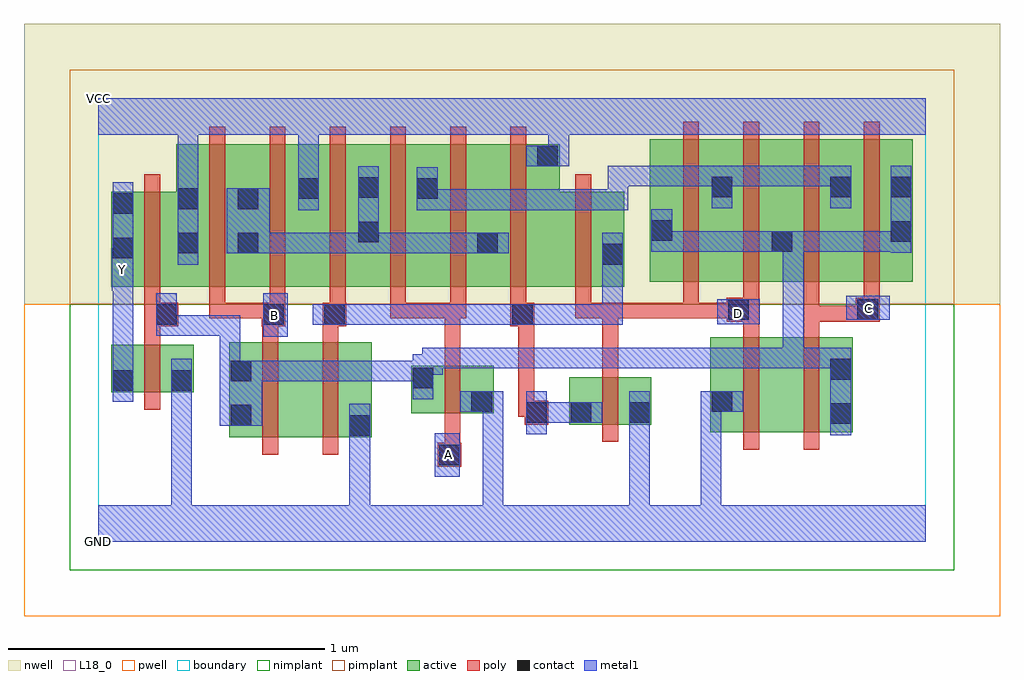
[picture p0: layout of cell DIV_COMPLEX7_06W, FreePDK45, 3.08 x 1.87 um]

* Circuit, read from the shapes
.subckt DIV_COMPLEX7_06W A B C D GND VCC Y
M1 GND n1 Y VSUBS nfet w=0.15u l=0.05u
M2 n2 B n1 VSUBS nfet w=0.3u l=0.05u
M3 GND n3 n2 VSUBS nfet w=0.3u l=0.05u
M4 GND A n1 VSUBS nfet w=0.15u l=0.05u
M5 GND D n3 VSUBS nfet w=0.15u l=0.05u
M6 n4 D GND VSUBS nfet w=0.3u l=0.05u
M7 n1 C n4 VSUBS nfet w=0.3u l=0.05u
M8 VCC n1 Y n5 pfet w=0.3u l=0.05u
M9 n6 B VCC n5 pfet w=0.45u l=0.05u m=2
M10 n6 n3 VCC n5 pfet w=0.45u l=0.05u m=2
M11 n7 A n6 n5 pfet w=0.45u l=0.05u m=2
M12 n3 D VCC n5 pfet w=0.3u l=0.05u
M13 n7 D n1 n5 pfet w=0.45u l=0.05u m=2
M14 n7 C n1 n5 pfet w=0.45u l=0.05u m=2
.ends

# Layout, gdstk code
import gdstk
lib = gdstk.Library(unit=1e-6, precision=1e-09)
def R(c, l, rs):  # rectangles x0, y0, x1, y1
    for r in rs: c.add(gdstk.rectangle(r[:2], r[2:], *l))
def A(c, l, x, y, w, h, nx, ny, dx, dy):  # array of equal rectangles
    R(c, l, [(x+i*dx, y+j*dy, x+i*dx+w, y+j*dy+h) for i in range(nx) for j in range(ny)])
active = (1, 0)
pwell = (2, 0)
nwell = (3, 0)
nimplant = (4, 0)
pimplant = (5, 0)
poly = (9, 0)
contact = (10, 0)
metal1 = (11, 0)
L18_0 = (18, 0)
boundary = (235, 0)

div_complex7_06w = lib.new_cell('DIV_COMPLEX7_06W')
A(div_complex7_06w, active, 0.245, 0.805, 0.265, 0.45, 3, 1, 0.19, 0)
R(div_complex7_06w, active, [(0.412,0.33,0.637,0.63), (0.412,0.33,0.487,0.63), (0.637,0.33,0.862,0.63), (0.787,0.33,0.862,0.547), (1.93,0.345,2.155,0.645), (2.155,0.345,2.38,0.645), (2.305,0.367,2.38,0.645), (1.485,0.37,1.745,0.52), (1.485,0.37,1.56,0.445), (1.67,0.37,1.745,0.52), (1.93,0.382,2.005,0.547), (0.987,0.405,1.247,0.555), (1.172,0.405,1.247,0.48), (0.04,0.472,0.115,0.622), (0.04,0.472,0.3,0.622), (0.225,0.472,0.3,0.622), (0.987,0.48,1.062,0.555), (0.04,0.805,0.115,1.105), (0.04,0.805,0.32,1.105), (0.245,0.805,0.32,1.255), (0.815,0.805,1.075,1.255), (0.815,0.805,0.89,1.2), (1,0.805,1.265,1.255), (1,0.805,1.075,1.2), (1.19,0.805,1.455,1.255), (1.19,0.805,1.265,1.07), (1.38,0.805,1.66,1.105), (1.38,0.805,1.455,1.255), (1.74,0.82,2.005,1.27), (1.74,0.82,1.815,1.07), (1.93,0.82,2.195,1.27), (2.12,0.82,2.38,1.27), (2.12,0.82,2.195,1.07), (2.305,0.82,2.57,1.27), (2.495,0.82,2.57,1.2), (0.435,0.857,0.51,1.2), (0.625,0.857,0.7,1.255), (1.93,0.857,2.005,1.2), (2.305,0.857,2.38,1.2), (1.585,0.87,1.66,1.07)])
R(div_complex7_06w, pwell, [(-0.235,-0.235,2.845,0.75)])
R(div_complex7_06w, nwell, [(-0.235,0.75,2.845,1.635)])
R(div_complex7_06w, nimplant, [(-0.09,-0.09,2.7,0.75)])
R(div_complex7_06w, pimplant, [(-0.09,0.75,2.7,1.49)])
A(div_complex7_06w, poly, 0.35, 0.705, 0.05, 0.095, 6, 1, 0.19, 0)
A(div_complex7_06w, poly, 0.35, 0.75, 0.05, 0.56, 6, 1, 0.19, 0)
A(div_complex7_06w, poly, 1.845, 0.765, 0.05, 0.56, 4, 1, 0.19, 0)
R(div_complex7_06w, poly, [(1.07,0.237,1.145,0.312), (1.092,0.262,1.142,0.4), (0.517,0.275,0.567,0.685), (0.707,0.275,0.757,0.685), (2.035,0.29,2.085,0.7), (2.225,0.29,2.275,0.7), (1.59,0.315,1.64,0.575), (1.092,0.35,1.142,0.61), (1.345,0.37,1.42,0.445), (1.325,0.395,1.375,0.73), (1.325,0.395,1.395,0.445), (1.345,0.395,1.395,0.445), (0.145,0.417,0.195,0.677), (1.59,0.525,1.64,0.755), (1.092,0.56,1.142,0.755), (0.145,0.627,0.195,0.73), (0.517,0.635,0.567,0.73), (0.707,0.635,0.757,0.73), (2.035,0.65,2.085,0.745), (2.225,0.65,2.275,0.745), (0.145,0.68,0.252,0.755), (0.515,0.68,0.59,0.755), (0.707,0.68,0.782,0.755), (1.3,0.68,1.375,0.755), (1.982,0.695,2.085,0.77), (2.225,0.695,2.44,0.745), (2.225,0.695,2.275,0.745), (2.225,0.695,2.275,0.745), (2.225,0.695,2.275,0.745), (2.225,0.695,2.275,0.815), (2.39,0.695,2.465,0.77), (0.145,0.705,0.195,0.8), (0.35,0.705,0.565,0.755), (0.35,0.705,0.4,0.755), (0.515,0.705,0.565,0.755), (0.515,0.705,0.565,0.755), (0.92,0.705,0.97,0.755), (0.92,0.705,0.97,0.755), (0.92,0.705,0.97,0.755), (0.92,0.705,1.142,0.755), (1.092,0.705,1.16,0.755), (1.505,0.705,1.555,0.8), (1.505,0.705,1.64,0.755), (1.59,0.705,1.64,0.755), (1.59,0.705,1.64,0.755), (1.59,0.705,1.895,0.755), (1.845,0.705,1.895,0.755), (1.845,0.705,1.895,0.755), (1.845,0.705,1.895,0.755), (1.845,0.705,2.032,0.755), (1.845,0.705,1.895,0.815), (1.982,0.705,2.032,0.755), (1.982,0.705,2.032,0.755), (2.035,0.72,2.085,0.815), (2.415,0.72,2.465,0.815), (0.145,0.75,0.195,1.16), (1.505,0.75,1.555,1.16)])
R(div_complex7_06w, contact, [(1.075,0.242,1.14,0.307), (0.792,0.335,0.857,0.4), (0.417,0.367,0.482,0.432), (2.31,0.372,2.375,0.437), (1.35,0.375,1.415,0.44), (1.49,0.375,1.555,0.44), (1.675,0.375,1.74,0.44), (1.177,0.41,1.242,0.475), (1.935,0.41,2,0.475), (0.045,0.477,0.11,0.542), (0.23,0.477,0.295,0.542), (0.992,0.485,1.057,0.55), (0.417,0.507,0.482,0.572), (2.31,0.512,2.375,0.577), (0.182,0.685,0.247,0.75), (0.52,0.685,0.585,0.75), (0.712,0.685,0.777,0.75), (1.305,0.685,1.37,0.75), (1.987,0.7,2.052,0.765), (2.395,0.7,2.46,0.765), (1.59,0.875,1.655,0.94), (0.045,0.895,0.11,0.96), (0.25,0.91,0.315,0.975), (0.44,0.91,0.505,0.975), (1.195,0.91,1.26,0.975), (2.125,0.915,2.19,0.98), (0.82,0.945,0.885,1.01), (2.5,0.947,2.565,1.012), (1.745,0.95,1.81,1.015), (0.045,1.035,0.11,1.1), (0.25,1.05,0.315,1.115), (0.44,1.05,0.505,1.115), (0.63,1.082,0.695,1.147), (1.005,1.082,1.07,1.147), (0.82,1.085,0.885,1.15), (1.935,1.087,2,1.152), (2.31,1.087,2.375,1.152), (2.5,1.087,2.565,1.152), (1.385,1.185,1.45,1.25)])
R(div_complex7_06w, metal1, [(0,0,2.61,0.115), (0.23,0.05,0.295,0.115), (0.23,0.05,0.295,0.115), (0.23,0.05,0.295,0.115), (0.23,0.05,0.295,0.115), (0.23,0.05,0.295,0.507), (0.792,0.05,0.857,0.115), (0.792,0.05,0.857,0.115), (0.792,0.05,0.857,0.115), (0.792,0.05,0.857,0.115), (0.792,0.05,0.857,0.365), (1.212,0.05,1.277,0.115), (1.212,0.05,1.277,0.115), (1.212,0.05,1.277,0.115), (1.212,0.05,1.277,0.115), (1.212,0.05,1.277,0.115), (1.212,0.05,1.277,0.115), (1.212,0.05,1.277,0.475), (1.675,0.05,1.74,0.115), (1.675,0.05,1.74,0.115), (1.675,0.05,1.74,0.115), (1.675,0.05,1.74,0.115), (1.675,0.05,1.74,0.115), (1.675,0.05,1.74,0.115), (1.675,0.05,1.74,0.405), (1.9,0.05,1.965,0.115), (1.9,0.05,1.965,0.115), (1.9,0.05,1.965,0.115), (1.9,0.05,1.965,0.115), (1.9,0.05,1.965,0.475), (1.062,0.205,1.14,0.342), (0.792,0.3,0.857,0.435), (2.31,0.337,2.375,0.612), (1.35,0.34,1.415,0.475), (1.675,0.34,1.74,0.475), (0.382,0.367,0.517,0.572), (1.35,0.375,1.52,0.44), (1.455,0.375,1.59,0.44), (1.142,0.41,1.277,0.475), (1.9,0.41,2.035,0.475), (0.045,0.442,0.11,0.577), (0.23,0.442,0.295,0.507), (0.23,0.442,0.295,0.507), (0.23,0.442,0.295,0.577), (0.992,0.45,1.057,0.592), (0.382,0.507,0.447,0.715), (0.452,0.507,0.54,0.572), (0.475,0.507,0.54,0.572), (0.475,0.507,0.677,0.572), (0.612,0.507,0.677,0.572), (0.612,0.507,0.677,0.572), (0.612,0.507,0.677,0.572), (0.612,0.507,0.92,0.572), (0.855,0.507,0.92,0.572), (0.855,0.507,0.95,0.572), (0.885,0.507,0.95,0.572), (0.885,0.507,1.057,0.572), (0.045,0.512,0.11,0.857), (0.992,0.527,1.087,0.592), (1.022,0.527,1.087,0.612), (1.022,0.547,1.277,0.612), (1.212,0.547,1.415,0.612), (1.212,0.547,1.277,0.612), (1.212,0.547,1.277,0.612), (1.212,0.547,1.277,0.612), (1.35,0.547,1.415,0.612), (1.35,0.547,1.602,0.612), (1.537,0.547,1.602,0.612), (1.537,0.547,1.655,0.612), (1.59,0.547,1.655,0.612), (1.59,0.547,1.81,0.612), (1.745,0.547,1.81,0.612), (1.745,0.547,1.81,0.612), (1.745,0.547,1.81,0.612), (1.745,0.547,1.947,0.612), (1.882,0.547,1.947,0.612), (1.882,0.547,1.947,0.612), (1.882,0.547,1.947,0.612), (1.882,0.547,2.225,0.612), (2.16,0.547,2.225,0.612), (2.16,0.547,2.225,0.612), (2.16,0.547,2.225,0.612), (2.16,0.547,2.225,0.612), (2.16,0.547,2.225,0.612), (2.16,0.547,2.375,0.612), (2.16,0.547,2.225,0.98), (0.52,0.647,0.597,0.785), (0.182,0.65,0.247,0.715), (0.182,0.65,0.247,0.715), (0.182,0.65,0.247,0.785), (0.182,0.65,0.402,0.715), (0.337,0.65,0.402,0.715), (0.337,0.65,0.447,0.715), (0.382,0.65,0.447,0.715), (0.677,0.685,0.812,0.75), (0.747,0.685,0.92,0.75), (0.855,0.685,0.92,0.75), (0.855,0.685,0.95,0.75), (0.885,0.685,0.95,0.75), (0.885,0.685,1.07,0.75), (1.005,0.685,1.07,0.75), (1.005,0.685,1.107,0.75), (1.042,0.685,1.107,0.75), (1.042,0.685,1.277,0.75), (1.212,0.685,1.277,0.75), (1.212,0.685,1.335,0.75), (1.27,0.685,1.405,0.75), (1.34,0.685,1.415,0.75), (1.35,0.685,1.415,0.75), (1.35,0.685,1.655,0.75), (1.59,0.685,1.655,0.75), (1.59,0.685,1.655,0.75), (1.59,0.685,1.655,0.75), (1.59,0.685,1.655,0.905), (1.952,0.687,2.087,0.765), (2.36,0.7,2.497,0.777), (0.042,0.792,0.11,0.927), (1.59,0.84,1.655,0.975), (0.045,0.86,0.11,1.135), (0.045,0.86,0.11,0.925), (0.25,0.875,0.315,1.15), (0.405,0.91,0.54,1.115), (0.475,0.91,0.54,0.975), (0.475,0.91,0.54,0.975), (0.475,0.91,0.677,0.975), (0.612,0.91,0.677,0.975), (0.612,0.91,0.677,0.975), (0.612,0.91,0.677,0.975), (0.612,0.91,0.885,0.975), (0.82,0.91,0.885,1.185), (0.82,0.91,0.95,0.975), (0.885,0.91,0.95,0.975), (0.885,0.91,1.07,0.975), (1.005,0.91,1.07,0.975), (1.005,0.91,1.13,0.975), (1.065,0.91,1.13,0.975), (1.065,0.91,1.225,0.975), (1.16,0.91,1.295,0.975), (2.5,0.912,2.565,1.187), (1.745,0.915,1.81,0.98), (1.745,0.915,1.81,0.98), (1.745,0.915,1.81,1.05), (1.745,0.915,2.017,0.98), (1.952,0.915,2.155,0.98), (1.952,0.915,2.017,0.98), (1.952,0.915,2.017,0.98), (1.952,0.915,2.017,0.98), (2.09,0.915,2.225,0.98), (2.16,0.915,2.225,0.98), (2.16,0.915,2.225,0.98), (2.16,0.915,2.427,0.98), (2.362,0.915,2.565,0.98), (2.362,0.915,2.427,0.98), (2.362,0.915,2.427,0.98), (2.362,0.915,2.427,0.98), (0.63,1.047,0.695,1.182), (1.005,1.047,1.07,1.182), (1.005,1.047,1.137,1.112), (1.072,1.047,1.137,1.112), (1.072,1.047,1.277,1.112), (1.212,1.047,1.277,1.112), (1.212,1.047,1.277,1.112), (1.212,1.047,1.277,1.112), (1.212,1.047,1.517,1.112), (1.452,1.047,1.517,1.112), (1.452,1.047,1.672,1.112), (1.607,1.047,1.672,1.187), (1.935,1.052,2,1.187), (2.31,1.052,2.375,1.187), (0.25,1.085,0.315,1.35), (0.63,1.117,0.695,1.35), (1.607,1.122,1.81,1.187), (1.607,1.122,1.672,1.187), (1.607,1.122,1.672,1.187), (1.745,1.122,1.81,1.187), (1.745,1.122,1.81,1.187), (1.745,1.122,1.81,1.187), (1.745,1.122,2,1.187), (1.935,1.122,2,1.187), (1.935,1.122,2,1.187), (1.935,1.122,2.237,1.187), (2.172,1.122,2.375,1.187), (2.172,1.122,2.237,1.187), (2.172,1.122,2.237,1.187), (2.172,1.122,2.237,1.187), (1.35,1.185,1.485,1.25), (1.42,1.185,1.485,1.35), (0,1.285,2.61,1.4)])
R(div_complex7_06w, L18_0, [(0,0,2.61,0.115), (0.23,0.05,0.295,0.115), (0.23,0.05,0.295,0.115), (0.23,0.05,0.295,0.115), (0.23,0.05,0.295,0.115), (0.23,0.05,0.295,0.507), (0.792,0.05,0.857,0.115), (0.792,0.05,0.857,0.115), (0.792,0.05,0.857,0.115), (0.792,0.05,0.857,0.115), (0.792,0.05,0.857,0.365), (1.212,0.05,1.277,0.115), (1.212,0.05,1.277,0.115), (1.212,0.05,1.277,0.115), (1.212,0.05,1.277,0.115), (1.212,0.05,1.277,0.115), (1.212,0.05,1.277,0.115), (1.212,0.05,1.277,0.475), (1.675,0.05,1.74,0.115), (1.675,0.05,1.74,0.115), (1.675,0.05,1.74,0.115), (1.675,0.05,1.74,0.115), (1.675,0.05,1.74,0.115), (1.675,0.05,1.74,0.115), (1.675,0.05,1.74,0.405), (1.9,0.05,1.965,0.115), (1.9,0.05,1.965,0.115), (1.9,0.05,1.965,0.115), (1.9,0.05,1.965,0.115), (1.9,0.05,1.965,0.475), (1.062,0.205,1.14,0.342), (1.072,0.242,1.137,0.307), (0.792,0.3,0.857,0.435), (1.675,0.34,1.74,0.475), (1.142,0.41,1.277,0.475), (1.9,0.41,2.035,0.475), (0.045,0.442,0.11,0.577), (0.23,0.442,0.295,0.577), (0.23,0.442,0.295,0.507), (0.23,0.442,0.295,0.507), (0.045,0.512,0.11,0.857), (0.52,0.647,0.597,0.785), (0.522,0.682,0.587,0.747), (1.952,0.687,2.087,0.765), (1.987,0.687,2.052,0.752), (2.36,0.7,2.497,0.777), (2.397,0.702,2.462,0.767), (0.042,0.792,0.11,0.927), (0.042,0.827,0.107,0.892), (0.045,0.86,0.11,1.135), (0.045,0.86,0.11,0.925), (0.25,0.875,0.315,1.15), (0.63,1.047,0.695,1.182), (0.25,1.085,0.315,1.35), (0.63,1.117,0.695,1.35), (1.35,1.185,1.485,1.25), (1.42,1.185,1.485,1.35), (0,1.285,2.61,1.4)])
R(div_complex7_06w, boundary, [(0,0,2.61,1.4)])
div_complex7_06w.add(gdstk.Label('A', (1.105,0.275), layer=11, texttype=0))
div_complex7_06w.add(gdstk.Label('B', (0.555,0.715), layer=11, texttype=0))
div_complex7_06w.add(gdstk.Label('C', (2.43,0.735), layer=11, texttype=0))
div_complex7_06w.add(gdstk.Label('D', (2.02,0.72), layer=11, texttype=0))
div_complex7_06w.add(gdstk.Label('Y', (0.075,0.86), layer=11, texttype=0))
div_complex7_06w.add(gdstk.Label('VCC', (0,1.4), layer=11, texttype=0))
div_complex7_06w.add(gdstk.Label('GND', (0,0), layer=11, texttype=0))

lib.write_gds('DIV_COMPLEX7_06W.gds')
